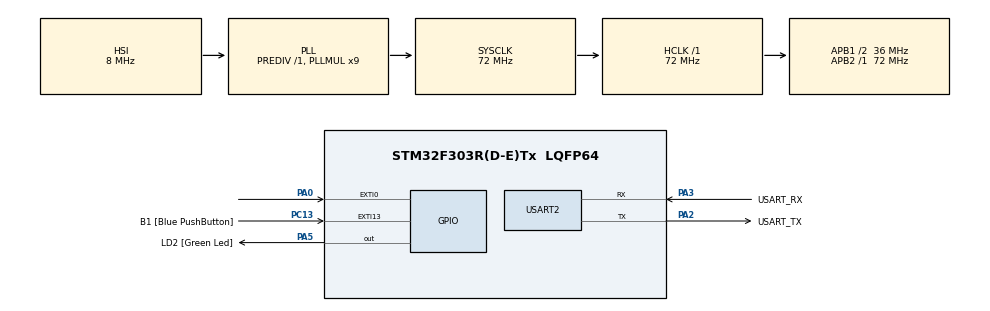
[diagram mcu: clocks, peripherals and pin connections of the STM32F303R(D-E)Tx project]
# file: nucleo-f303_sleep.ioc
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Mcu.Family=STM32F3
PA2.GPIO_PuPd=GPIO_NOPULL
RCC.CortexFreq_Value=72000000
PA14.GPIO_Label=TCK
NVIC.RTC_WKUP_IRQn=true\:0\:0\:false\:false\:true\:true\:true
RCC.SYSCLKSourceVirtual=RCC_SYSCLKSOURCE_PLLCLK
PA3.GPIO_PuPd=GPIO_NOPULL
PA2.GPIO_Speed=GPIO_SPEED_FREQ_LOW
VP_RTC_VS_RTC_Activate.Mode=RTC_Enabled
PC13.GPIO_Label=B1 [Blue PushButton]
PA3.GPIO_Speed=GPIO_SPEED_FREQ_LOW
ProjectManager.StackSize=0x400
RCC.HCLKFreq_Value=72000000
RCC.APB2TimFreq_Value=72000000
RCC.AHBFreq_Value=72000000
RCC.HSE_VALUE=8000000
USART2.VirtualMode-Asynchronous=VM_ASYNC
RCC.RTCClockSelection=RCC_RTCCLKSOURCE_LSE
RCC.RCC_PLLsource_Clock_Source_FROM_HSE=RCC_HSE_PREDIV_DIV2
RCC.PLLMUL=RCC_PLL_MUL9
PC14-OSC32_IN.Mode=LSE-External-Oscillator
PA14.Mode=Serial_Wire
PA5.GPIO_PuPd=GPIO_NOPULL
PA0.Signal=GPXTI0
Mcu.Package=LQFP64
PA0.GPIO_PuPd=GPIO_PULLDOWN
PA2.GPIO_Label=USART_TX
RCC.APB1TimFreq_Value=72000000
PF1-OSC_OUT.Signal=RCC_OSC_OUT
PA3.Signal=USART2_RX
PA2.GPIO_Mode=GPIO_MODE_AF_PP
PB3.GPIO_Label=SWO
PC15-OSC32_OUT.Mode=LSE-External-Oscillator
PC13.Signal=GPXTI13
RCC.APB1CLKDivider=RCC_HCLK_DIV2
PC14-OSC32_IN.Signal=RCC_OSC32_IN
NVIC.USART2_IRQn=true\:0\:0\:false\:false\:true\:true\:true
PA3.Mode=Asynchronous
PA13.Signal=SYS_JTMS-SWDIO
ProjectManager.TargetToolchain=STM32CubeIDE
PA3.GPIO_Mode=GPIO_MODE_AF_PP
RCC.USBFreq_Value=72000000
PC15-OSC32_OUT.Signal=RCC_OSC32_OUT
PF0-OSC_IN.Mode=HSE-External-Clock-Source
PA5.Signal=GPIO_Output
board=NUCLEO-F303RE
RCC.APB2Freq_Value=72000000
PA13.Mode=Serial_Wire
Mcu.Name=STM32F303R(D-E)Tx
PA13.GPIO_Label=TMS
PA2.Signal=USART2_TX
PB3.Signal=SYS_JTDO-TRACESWO
NVIC.EXTI0_IRQn=true\:0\:0\:false\:false\:true\:true\:true
RCC.SYSCLKFreq_VALUE=72000000
PA5.GPIO_Label=LD2 [Green Led]
PC13.GPIO_ModeDefaultEXTI=GPIO_MODE_IT_FALLING
PA14.Signal=SYS_JTCK-SWCLK
ProjectManager.HeapSize=0x200
RCC.HSI_VALUE=8000000
VP_RTC_VS_RTC_WakeUp_intern.Mode=WakeUp
RCC.PLLP=RCC_PLLP_DIV4
PA5.GPIO_Speed=GPIO_SPEED_FREQ_LOW
RCC.PLLQ=7
NVIC.PriorityGroup=NVIC_PRIORITYGROUP_0
RCC.PLLM=8
RCC.PLLN=336
PA2.Mode=Asynchronous
PF0-OSC_IN.Signal=RCC_OSC_IN
RCC.APB1Freq_Value=36000000
PA5.GPIO_Mode=GPIO_MODE_OUTPUT_PP
PA3.GPIO_Label=USART_RX

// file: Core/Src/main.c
/* USER CODE BEGIN Header */
/**
  ******************************************************************************
  * @file           : main.c
  * @brief          : Main program body
  ******************************************************************************
  * @attention
  *
  * <h2><center>&copy; Copyright (c) 2021 STMicroelectronics.
  * All rights reserved.</center></h2>
  *
  * This software component is licensed by ST under BSD 3-Clause license,
  * the "License"; You may not use this file except in compliance with the
  * License. You may obtain a copy of the License at:
  *                        opensource.org/licenses/BSD-3-Clause
  *
  ******************************************************************************
  *
  * STM32F303-prosessorin virransäästötilojen demo.
  * F303RE osaa 3 virransäästötilaa:
  * - Sleep Mode ( I/O-pinnien tilat säilyvät)
  * - Stop Mode ( I/O-pinnien tilat säilyvät, HSI ja HSE-kellosignaalit pysähtyvät, muisti ja rekisterit säilyvät)
  * - Standby Mode
  * Tilojen virrankulutus alenee progressiivisesti samalla kuin erilaisia resursseja suljetaan
  * Standby-tila ei enää ylläpidä muistin eikä prosessorin rekisterien tilaa. Ainoastaan
  * reaaliaikakellon tilataltion RAM-muisti säilyy
  *
  */
/* USER CODE END Header */
#include "main.h"

/* USER CODE BEGIN Includes */
#include <stdbool.h>
#include <stdio.h>
#include <errno.h>

/* USER CODE END Includes */

RTC_HandleTypeDef hrtc;

UART_HandleTypeDef huart2;

void SystemClock_Config(void);
static void MX_GPIO_Init(void);
static void MX_USART2_UART_Init(void);
static void MX_RTC_Init(void);

/* USER CODE BEGIN 0 */

#include  <sys/unistd.h> // STDOUT_FILENO, STDERR_FILENO

int _read(int fd, char *ptr, int len) {
	if (fd == STDIN_FILENO ) {
		HAL_UART_Receive(&huart2, (uint8_t *) ptr, 1, HAL_MAX_DELAY);
	    HAL_UART_Transmit(&huart2, (uint8_t *) ptr, 1, HAL_MAX_DELAY);
	}
	return 1;
}

int _write(int fd, char* ptr, int len) {
  HAL_StatusTypeDef hstatus;

  if (fd == STDOUT_FILENO || fd == STDERR_FILENO) {
    hstatus = HAL_UART_Transmit(&huart2, (uint8_t *) ptr, len, HAL_MAX_DELAY);
    if (hstatus == HAL_OK)
      return len;
    else
      return EIO;
  }
  errno = EBADF;
  return -1;
}

uint8_t getCommandFromUSART() {
	char cmd;
	while ( 1 ) {
		printf("Enter sleep mode - 1: sleep; 2: stop; 3: standby; 4: sleep+auto wakeup\r\n");
		_read(0, &cmd, 1);
		if ( cmd == '1' ) return 1;
		if ( cmd == '2' ) return 2;
		if ( cmd == '3' ) return 3;
		if ( cmd == '4' ) return 4;
		printf("%c did not compute\r\n", cmd);
	}
	return 0;	// jotta kääntyri on onnellinen, ei tähän koskaan oikeasti tulla
}
/* USER CODE END 0 */

int main(void)
{
  /* USER CODE BEGIN 1 */
	uint8_t command;
  /* USER CODE END 1 */

  /* MCU Configuration--------------------------------------------------------*/

  /* Reset of all peripherals, Initializes the Flash interface and the Systick. */
  HAL_Init();

  /* Configure the system clock */
  SystemClock_Config();

  /* Initialize all configured peripherals */
  MX_GPIO_Init();
  MX_USART2_UART_Init();
  MX_RTC_Init();
  /* USER CODE BEGIN 2 */
  HAL_RTCEx_DeactivateWakeUpTimer(&hrtc);

  printf("\r\nARM Low Power demo\r\n\r\n");

  /* USER CODE END 2 */

  /* Infinite loop */
  /* USER CODE BEGIN WHILE */
  while (1)
  {
	  HAL_GPIO_WritePin(LD2_GPIO_Port, LD2_Pin, GPIO_PIN_SET);
	  command = getCommandFromUSART();

	  switch ( command ) {
		  case 1: {
			  printf("Entering Sleep mode now\r\n");
			  break;
		  }
		  case 2: {
			  printf("Entering Stop mode now\r\n");
			  break;
		  }
		  case 3: {
			  printf("Entering Standby mode now\r\n");
			  break;
		  }
		  case 4: {
			  printf("Entering Sleep+auto wakeup mode now\r\n");
			  break;
		  }
		  default: {
			  printf("That was not a sleep mode!\r\n");
		  }
	  }

	  printf("Good Night!\r\n");
	  HAL_Delay(500);
	  HAL_GPIO_WritePin(LD2_GPIO_Port, LD2_Pin, GPIO_PIN_RESET);

	  // Keskeytykset herättävät prosessorin virransäästötilasta
	  // sen takia Tick-keskeytys on pysäytettävä, muuten prosessori herää
	  // heti millisekunnin sisällä.
	  HAL_SuspendTick();

	  // Siirrytään valittuun virransäästötilaan
	  if ( command == 1) {
		  // Sleep Mode: CPU core pysähtyy. Muisti ja rekisterit säilyvät
		  // Osa oheislaitteista säilyy aktiivisina ja ne voivat herättää systeemin
		  // Low Power regulator: oheislaitteet toimivat alennetulla kellotaajuudella
		  HAL_PWR_EnterSLEEPMode( PWR_LOWPOWERREGULATOR_ON, PWR_SLEEPENTRY_WFI );
	  }
	  else if ( command == 2 ) {
		  // Stop Mode: CPU core pysähtyy. Muisti ja rekisterit säilyvät
		  // Useimmat oheislaitteet pysähtyvät
		  // Reaaliaikakello on mahdollista pysäyttää virran säästämiseksi
		  HAL_PWR_EnterSTOPMode( PWR_LOWPOWERREGULATOR_ON, PWR_SLEEPENTRY_WFI );
		  SystemClock_Config();
	  }
	  else if ( command == 3 ) {
		  HAL_PWR_EnterSTANDBYMode();
	  }
	  else if ( command == 4) {
		  // Sleep Mode: CPU core pysähtyy. Muisti ja rekisterit säilyvät
		  // Osa oheislaitteista säilyy aktiivisina ja ne voivat herättää systeemin
		  // Low Power regulator: oheislaitteet toimivat alennetulla kellotaajuudella
		  // Systeemi herää automaattisesti reaaliaikakellon keskeytyksestä.
		  // Muuttuja sleepTime määrää nukkumisajan millisekunteina
#define RTC_CLOCK_FREQ 32768
#define RTC_CLOCK_DIVIDER 16
		  uint32_t sleepTime = ( ( (uint32_t) 5000 ) * ( RTC_CLOCK_FREQ / RTC_CLOCK_DIVIDER ) ) / 1000;
		  HAL_RTCEx_SetWakeUpTimer_IT(&hrtc, sleepTime, RTC_WAKEUPCLOCK_RTCCLK_DIV16);

		  HAL_PWR_EnterSLEEPMode( PWR_LOWPOWERREGULATOR_ON, PWR_SLEEPENTRY_WFI );
	  }

	  printf("Good Morning!\r\n");

    /* USER CODE END WHILE */

  }
}

void SystemClock_Config(void)
{
  RCC_OscInitTypeDef RCC_OscInitStruct = {0};
  RCC_ClkInitTypeDef RCC_ClkInitStruct = {0};
  RCC_PeriphCLKInitTypeDef PeriphClkInit = {0};

  /** Configure LSE Drive Capability
  */
  HAL_PWR_EnableBkUpAccess();
  __HAL_RCC_LSEDRIVE_CONFIG(RCC_LSEDRIVE_LOW);
  /** Initializes the RCC Oscillators according to the specified parameters
  * in the RCC_OscInitTypeDef structure.
  */
  RCC_OscInitStruct.OscillatorType = RCC_OSCILLATORTYPE_HSI|RCC_OSCILLATORTYPE_LSE;
  RCC_OscInitStruct.LSEState = RCC_LSE_ON;
  RCC_OscInitStruct.HSIState = RCC_HSI_ON;
  RCC_OscInitStruct.HSICalibrationValue = RCC_HSICALIBRATION_DEFAULT;
  RCC_OscInitStruct.PLL.PLLState = RCC_PLL_ON;
  RCC_OscInitStruct.PLL.PLLSource = RCC_PLLSOURCE_HSI;
  RCC_OscInitStruct.PLL.PLLMUL = RCC_PLL_MUL9;
  RCC_OscInitStruct.PLL.PREDIV = RCC_PREDIV_DIV1;
  if (HAL_RCC_OscConfig(&RCC_OscInitStruct) != HAL_OK)
  {
    Error_Handler();
  }
  /** Initializes the CPU, AHB and APB buses clocks
  */
  RCC_ClkInitStruct.ClockType = RCC_CLOCKTYPE_HCLK|RCC_CLOCKTYPE_SYSCLK
                              |RCC_CLOCKTYPE_PCLK1|RCC_CLOCKTYPE_PCLK2;
  RCC_ClkInitStruct.SYSCLKSource = RCC_SYSCLKSOURCE_PLLCLK;
  RCC_ClkInitStruct.AHBCLKDivider = RCC_SYSCLK_DIV1;
  RCC_ClkInitStruct.APB1CLKDivider = RCC_HCLK_DIV2;
  RCC_ClkInitStruct.APB2CLKDivider = RCC_HCLK_DIV1;

  if (HAL_RCC_ClockConfig(&RCC_ClkInitStruct, FLASH_LATENCY_2) != HAL_OK)
  {
    Error_Handler();
  }
  PeriphClkInit.PeriphClockSelection = RCC_PERIPHCLK_USART2|RCC_PERIPHCLK_RTC;
  PeriphClkInit.Usart2ClockSelection = RCC_USART2CLKSOURCE_PCLK1;
  PeriphClkInit.RTCClockSelection = RCC_RTCCLKSOURCE_LSE;
  if (HAL_RCCEx_PeriphCLKConfig(&PeriphClkInit) != HAL_OK)
  {
    Error_Handler();
  }
}

static void MX_RTC_Init(void)
{

  /** Initialize RTC Only
  */
  hrtc.Instance = RTC;
  hrtc.Init.HourFormat = RTC_HOURFORMAT_24;
  hrtc.Init.AsynchPrediv = 127;
  hrtc.Init.SynchPrediv = 255;
  hrtc.Init.OutPut = RTC_OUTPUT_DISABLE;
  hrtc.Init.OutPutPolarity = RTC_OUTPUT_POLARITY_HIGH;
  hrtc.Init.OutPutType = RTC_OUTPUT_TYPE_OPENDRAIN;
  if (HAL_RTC_Init(&hrtc) != HAL_OK)
  {
    Error_Handler();
  }
  /** Enable the WakeUp
  */
  if (HAL_RTCEx_SetWakeUpTimer_IT(&hrtc, 0, RTC_WAKEUPCLOCK_RTCCLK_DIV16) != HAL_OK)
  {
    Error_Handler();
  }

}

static void MX_USART2_UART_Init(void)
{

  huart2.Instance = USART2;
  huart2.Init.BaudRate = 38400;
  huart2.Init.WordLength = UART_WORDLENGTH_8B;
  huart2.Init.StopBits = UART_STOPBITS_1;
  huart2.Init.Parity = UART_PARITY_NONE;
  huart2.Init.Mode = UART_MODE_TX_RX;
  huart2.Init.HwFlowCtl = UART_HWCONTROL_NONE;
  huart2.Init.OverSampling = UART_OVERSAMPLING_16;
  huart2.Init.OneBitSampling = UART_ONE_BIT_SAMPLE_DISABLE;
  huart2.AdvancedInit.AdvFeatureInit = UART_ADVFEATURE_NO_INIT;
  if (HAL_UART_Init(&huart2) != HAL_OK)
  {
    Error_Handler();
  }

}

static void MX_GPIO_Init(void)
{
  GPIO_InitTypeDef GPIO_InitStruct = {0};

  /* GPIO Ports Clock Enable */
  __HAL_RCC_GPIOC_CLK_ENABLE();
  __HAL_RCC_GPIOF_CLK_ENABLE();
  __HAL_RCC_GPIOA_CLK_ENABLE();
  __HAL_RCC_GPIOB_CLK_ENABLE();

  /*Configure GPIO pin Output Level */
  HAL_GPIO_WritePin(LD2_GPIO_Port, LD2_Pin, GPIO_PIN_RESET);

  /*Configure GPIO pin : B1_Pin */
  GPIO_InitStruct.Pin = B1_Pin;
  GPIO_InitStruct.Mode = GPIO_MODE_IT_FALLING;
  GPIO_InitStruct.Pull = GPIO_NOPULL;
  HAL_GPIO_Init(B1_GPIO_Port, &GPIO_InitStruct);

  /*Configure GPIO pin : PA0 */
  GPIO_InitStruct.Pin = GPIO_PIN_0;
  GPIO_InitStruct.Mode = GPIO_MODE_IT_RISING;
  GPIO_InitStruct.Pull = GPIO_PULLDOWN;
  HAL_GPIO_Init(GPIOA, &GPIO_InitStruct);

  /*Configure GPIO pin : LD2_Pin */
  GPIO_InitStruct.Pin = LD2_Pin;
  GPIO_InitStruct.Mode = GPIO_MODE_OUTPUT_PP;
  GPIO_InitStruct.Pull = GPIO_NOPULL;
  GPIO_InitStruct.Speed = GPIO_SPEED_FREQ_LOW;
  HAL_GPIO_Init(LD2_GPIO_Port, &GPIO_InitStruct);

  /* EXTI interrupt init*/
  HAL_NVIC_SetPriority(EXTI0_IRQn, 0, 0);
  HAL_NVIC_EnableIRQ(EXTI0_IRQn);

}

void Error_Handler(void)
{
  __disable_irq();
  while (1)
  {
  }
}

/************************ (C) COPYRIGHT STMicroelectronics *****END OF FILE****/
